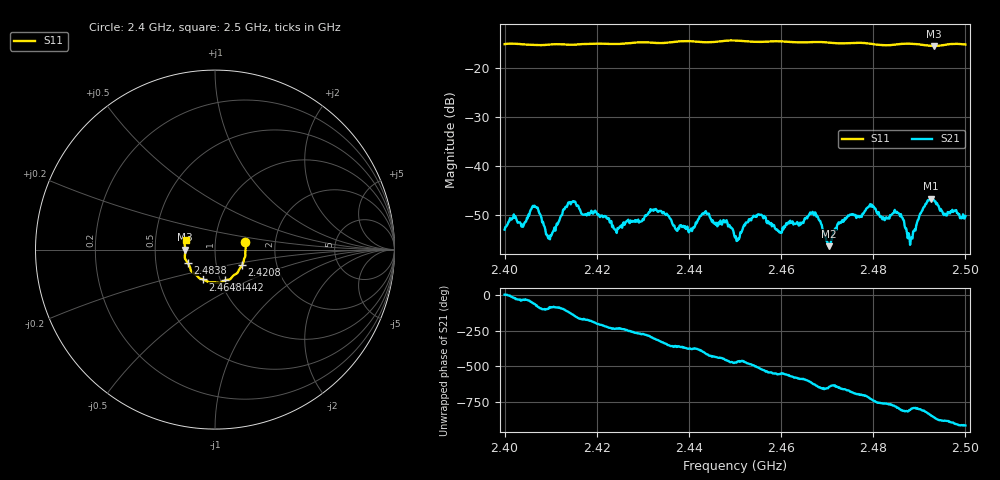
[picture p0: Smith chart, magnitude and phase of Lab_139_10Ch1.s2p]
# Hz S RI R 50
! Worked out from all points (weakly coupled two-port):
!   601 points, 2.4 GHz to 2.5 GHz, reference 50 ohm
!   highest |S21| = -46.60 dB at 2.4925 GHz (marker M1); lowest = -56.3 dB at 2.4703 GHz (marker M2)
!   lowest |S11| = -15.6 dB at 2.4932 GHz (marker M3), VSWR 1.40, Z = 35.8 - j0.0879 ohm
!   |S11| at or under -10 dB: start of sweep to end of sweep
!   S12 and S22 are empty: the file has one direction only
!   S11 on the Smith chart (normalised r, x): 2.4 GHz: 1.40, +0.12; 2.4208 GHz: 1.33, -0.24; 2.4442 GHz: 1.05, -0.37; 2.4648 GHz: 0.83, -0.28; 2.4838 GHz: 0.73, -0.11; 2.5 GHz: 0.72, +0.08
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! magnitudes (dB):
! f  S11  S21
! 2.4 GHz  -15.2  -52.9
! 2.4067 GHz  -15.4  -48.3
! 2.4097 GHz  -15.3  -54.2
! 2.4142 GHz  -15.4  -47.3
! 2.4167 GHz  -15.3  -49.7
! 2.4208 GHz  -15.2  -50.1
! 2.4243 GHz  -15.2  -53.6
! 2.4333 GHz  -15.0  -49.3
! 2.4403 GHz  -14.6  -52.9
! 2.4442 GHz  -14.9  -49.7
! 2.45 GHz  -14.5  -54.5
! 2.4553 GHz  -14.8  -49.9
! 2.4648 GHz  -14.9  -51.6
! 2.4667 GHz  -14.8  -49.7
! 2.4703 GHz  -14.9  -56.3
! 2.4792 GHz  -15.2  -48.1
! 2.4833 GHz  -15.5  -50.5
! 2.4838 GHz  -15.4  -50.0
! 2.488 GHz  -15.2  -56.0
! 2.4925 GHz  -15.6  -46.6
! 2.4932 GHz  -15.6  -46.9
! 2.5 GHz  -15.3  -50.2
